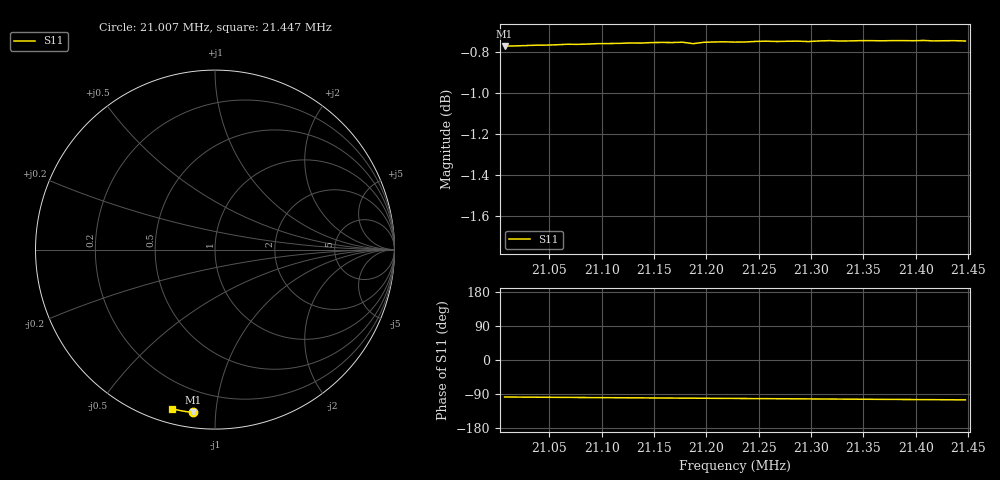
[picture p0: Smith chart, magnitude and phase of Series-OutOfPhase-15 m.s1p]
# HZ S RI R 50
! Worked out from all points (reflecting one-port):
!   45 points, 21.007 MHz to 21.447 MHz, reference 50 ohm
!   lowest |S11| = -0.8 dB at 21.007 MHz (marker M1), VSWR 22.52, Z = 3.91 - j43.6 ohm
!   phase of S11 starts at -98 deg and turns -8 deg over the sweep
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2.10072e7  -0.1215 -0.9069
2.106722e7  -0.1387 -0.9054
2.111724e7  -0.1528 -0.9036
2.112725e7  -0.1556 -0.9033
2.113725e7  -0.1584 -0.9027
2.114726e7  -0.1611 -0.9025
2.117727e7  -0.1694 -0.9012
2.118727e7  -0.1713 -0.9001
2.119728e7  -0.174 -0.9003
2.121728e7  -0.1795 -0.8994
2.122729e7  -0.1821 -0.8988
2.123729e7  -0.185 -0.8982
2.12573e7  -0.1904 -0.8975
2.12673e7  -0.1932 -0.8968
2.128731e7  -0.1984 -0.8958
2.129732e7  -0.201 -0.895
2.131732e7  -0.2065 -0.8942
2.132733e7  -0.2089 -0.8935
2.133733e7  -0.2118 -0.8929
2.134734e7  -0.2146 -0.8923
2.135734e7  -0.2169 -0.8918
2.136734e7  -0.2195 -0.8911
2.137735e7  -0.2224 -0.8904
2.138735e7  -0.2248 -0.8898
2.139736e7  -0.2274 -0.8891
2.141736e7  -0.2326 -0.8877
2.143737e7  -0.238 -0.8864
2.144738e7  -0.2404 -0.8856
